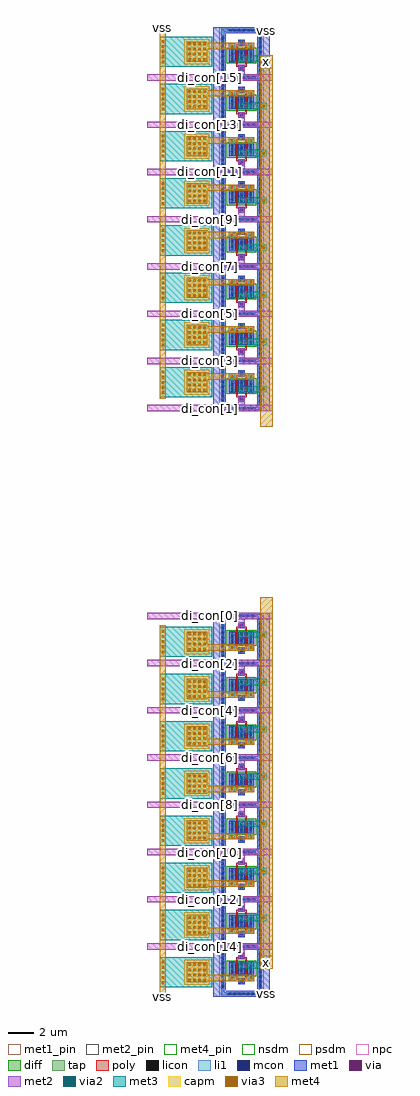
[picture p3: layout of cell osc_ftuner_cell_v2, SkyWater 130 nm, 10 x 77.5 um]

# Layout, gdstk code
from math import pi, radians
import gdstk
lib = gdstk.Library(unit=1e-6, precision=1e-09)
def R(c, l, rs):  # rectangles x0, y0, x1, y1
    for r in rs: c.add(gdstk.rectangle(r[:2], r[2:], *l))
def A(c, l, x, y, w, h, nx, ny, dx, dy):  # array of equal rectangles
    R(c, l, [(x+i*dx, y+j*dy, x+i*dx+w, y+j*dy+h) for i in range(nx) for j in range(ny)])
diff = (65, 20)
tap = (65, 44)
poly = (66, 20)
licon = (66, 44)
li1 = (67, 20)
mcon = (67, 44)
met1_pin = (68, 16)
met1 = (68, 20)
via = (68, 44)
met2_pin = (69, 16)
met2 = (69, 20)
via2 = (69, 44)
met3 = (70, 20)
via3 = (70, 44)
met4_pin = (71, 16)
met4 = (71, 20)
capm = (89, 44)
nsdm = (93, 44)
psdm = (94, 20)
npc = (95, 20)

sky130_fd_pr__nfet_01v8_ = lib.new_cell('sky130_fd_pr__nfet_01v8_osc_ftuner_cell_v2')
R(sky130_fd_pr__nfet_01v8_, diff, [(-1.085,-2.095,0.975,-1.095)])
R(sky130_fd_pr__nfet_01v8_, tap, [(-1.68,-3.72,1.57,-3.47), (-1.68,-3.47,-1.43,0.03), (1.32,-3.47,1.57,0.03), (-1.68,0.03,1.57,0.28)])
R(sky130_fd_pr__nfet_01v8_, poly, [(-0.19,-2.845,0.08,-2.495), (-0.485,-2.495,0.375,-2.345), (-0.485,-2.345,-0.335,-0.845), (0.225,-2.345,0.375,-0.845), (-0.485,-0.845,0.375,-0.695), (-0.19,-0.695,0.08,-0.345)])
A(sky130_fd_pr__nfet_01v8_, licon, -1.16, -3.68, 0.17, 0.17, 7, 2, 0.34, 3.75)
A(sky130_fd_pr__nfet_01v8_, licon, -1.64, -3.165, 0.17, 0.17, 1, 9, 0, 0.34)
A(sky130_fd_pr__nfet_01v8_, licon, 1.36, -3.165, 0.17, 0.17, 1, 9, 0, 0.34)
A(sky130_fd_pr__nfet_01v8_, licon, -0.87, -2.02, 0.17, 0.17, 3, 3, 0.73, 0.34)
R(sky130_fd_pr__nfet_01v8_, licon, [(-0.14,-2.68,0.03,-2.51), (-0.14,-0.68,0.03,-0.51)])
R(sky130_fd_pr__nfet_01v8_, li1, [(-1.68,-3.72,1.57,-3.47), (-1.68,-3.47,-1.43,0.03), (1.32,-3.47,1.57,0.03), (-0.14,-2.845,0.03,-2.345), (-1.025,-2.115,-0.545,-1.075), (-0.275,-2.115,0.165,-1.075), (0.435,-2.115,0.915,-1.075), (-0.14,-0.845,0.03,-0.345), (-1.68,0.03,1.57,0.28)])
A(sky130_fd_pr__nfet_01v8_, mcon, -1.04, -3.68, 0.17, 0.17, 6, 2, 0.36, 3.75)
A(sky130_fd_pr__nfet_01v8_, mcon, -1.64, -3.065, 0.17, 0.17, 1, 8, 0, 0.36)
A(sky130_fd_pr__nfet_01v8_, mcon, 1.36, -3.065, 0.17, 0.17, 1, 8, 0, 0.36)
A(sky130_fd_pr__nfet_01v8_, mcon, -0.87, -1.86, 0.17, 0.17, 3, 2, 0.73, 0.36)
R(sky130_fd_pr__nfet_01v8_, mcon, [(-0.14,-2.68,0.03,-2.51), (-0.14,-0.68,0.03,-0.51)])
R(sky130_fd_pr__nfet_01v8_, met1, [(-1.805,-3.845,1.695,-3.345), (-1.805,-3.345,-1.305,-0.095), (1.195,-3.345,1.695,-0.095), (-0.305,-2.845,0.195,-2.345), (-1.055,-2.095,-0.515,-1.095), (-0.305,-2.095,0.195,-1.095), (0.405,-2.095,0.945,-1.095), (-0.305,-0.845,0.195,-0.345), (-1.805,-0.095,1.695,0.405)])
R(sky130_fd_pr__nfet_01v8_, nsdm, [(-1.21,-2.22,1.1,-0.97)])
R(sky130_fd_pr__nfet_01v8_, psdm, [(-1.805,-3.845,1.695,-3.345), (-1.805,-3.345,-1.305,-0.095), (1.195,-3.345,1.695,-0.095), (-1.805,-0.095,1.695,0.405)])
R(sky130_fd_pr__nfet_01v8_, npc, [(-0.24,-2.78,0.13,-2.41), (-0.24,-0.78,0.13,-0.41)])
sky130_fd_pr__nfet_01v8_.add(gdstk.Label('D0', (-0.055,-1.595), layer=67, texttype=5))
sky130_fd_pr__nfet_01v8_.add(gdstk.Label('S0', (-0.63,-1.595), layer=67, texttype=5))
sky130_fd_pr__nfet_01v8_.add(gdstk.Label('D1', (-0.055,-1.595), layer=67, texttype=5))
sky130_fd_pr__nfet_01v8_.add(gdstk.Label('S1', (0.52,-1.595), layer=67, texttype=5))

sky130_fd_pr__cap_mim_m3 = lib.new_cell('sky130_fd_pr__cap_mim_m3_1_osc_ftuner_cell_v2')
R(sky130_fd_pr__cap_mim_m3, met3, [(-2.08,-1.2,2.08,1.2)])
A(sky130_fd_pr__cap_mim_m3, via3, 1.72, -0.9, 0.2, 0.2, 1, 5, 0, 0.4)
A(sky130_fd_pr__cap_mim_m3, via3, -1.58, -0.7, 0.2, 0.2, 4, 4, 0.4, 0.4)
R(sky130_fd_pr__cap_mim_m3, met4, [(1.58,-1.14,2.06,1.14), (-1.685,-0.805,-0.075,0.805)])
R(sky130_fd_pr__cap_mim_m3, capm, [(-1.88,-1,0.12,1)])
sky130_fd_pr__cap_mim_m3.add(gdstk.Label('C2', (1.82,0), layer=71, texttype=5))
sky130_fd_pr__cap_mim_m3.add(gdstk.Label('C1', (-0.88,0), layer=71, texttype=5))

osc_ftuner_cell_v2 = lib.new_cell('osc_ftuner_cell_v2')
R(osc_ftuner_cell_v2, met1_pin, [(38.75,-3,39.25,-2.5), (38.75,73.5,39.25,74)])
A(osc_ftuner_cell_v2, met1, 36, -1.75, 0.5, 1.5, 1, 8, 0, 3.75)
A(osc_ftuner_cell_v2, met1, 37.5, -1.75, 0.5, 1.5, 1, 8, 0, 3.75)
A(osc_ftuner_cell_v2, met1, 36, 45, 0.5, 1.5, 1, 8, 0, 3.75)
A(osc_ftuner_cell_v2, met1, 37.5, 45, 0.5, 1.5, 1, 8, 0, 3.75)
R(osc_ftuner_cell_v2, met1, [(34.75,-3,35.75,27.5), (38.25,-3,39.25,27.5), (36.75,-0.75,37.25,-0.25), (36.75,0,37.25,0.5), (36.75,3,37.25,3.5), (36.75,3.75,37.25,4.25), (36.75,6.75,37.25,7.25), (36.75,7.5,37.25,8), (36.75,10.5,37.25,11), (36.75,11.25,37.25,11.75), (36.75,14.25,37.25,14.75), (36.75,15,37.25,15.5), (36.75,18,37.25,18.5), (36.75,18.75,37.25,19.25), (36.75,21.75,37.25,22.25), (36.75,22.5,37.25,23), (36.75,25.5,37.25,26), (36.75,26.25,37.25,26.75), (34.75,43.5,35.75,74), (38.25,43.5,39.25,74), (36.75,44.25,37.25,44.75), (36.75,45,37.25,45.5), (36.75,48,37.25,48.5), (36.75,48.75,37.25,49.25), (36.75,51.75,37.25,52.25), (36.75,52.5,37.25,53), (36.75,55.5,37.25,56), (36.75,56.25,37.25,56.75), (36.75,59.25,37.25,59.75), (36.75,60,37.25,60.5), (36.75,63,37.25,63.5), (36.75,63.75,37.25,64.25), (36.75,66.75,37.25,67.25), (36.75,67.5,37.25,68), (36.75,70.5,37.25,71), (36.75,71.25,37.25,71.75)])
A(osc_ftuner_cell_v2, via, 36.175, -1.575, 0.15, 0.15, 1, 8, 0, 3.75)
A(osc_ftuner_cell_v2, via, 37.675, -1.575, 0.15, 0.15, 1, 8, 0, 3.75)
A(osc_ftuner_cell_v2, via, 36.175, 46.175, 0.15, 0.15, 1, 8, 0, 3.75)
A(osc_ftuner_cell_v2, via, 37.675, 46.175, 0.15, 0.15, 1, 8, 0, 3.75)
R(osc_ftuner_cell_v2, via, [(36.925,-0.575,37.075,-0.425), (36.925,0.175,37.075,0.325), (36.925,3.175,37.075,3.325), (36.925,3.925,37.075,4.075), (36.925,6.925,37.075,7.075), (36.925,7.675,37.075,7.825), (36.925,10.675,37.075,10.825), (36.925,11.425,37.075,11.575), (36.925,14.425,37.075,14.575), (36.925,15.175,37.075,15.325), (36.925,18.175,37.075,18.325), (36.925,18.925,37.075,19.075), (36.925,21.925,37.075,22.075), (36.925,22.675,37.075,22.825), (36.925,25.675,37.075,25.825), (36.925,26.425,37.075,26.575), (36.925,44.425,37.075,44.575), (36.925,45.175,37.075,45.325), (36.925,48.175,37.075,48.325), (36.925,48.925,37.075,49.075), (36.925,51.925,37.075,52.075), (36.925,52.675,37.075,52.825), (36.925,55.675,37.075,55.825), (36.925,56.425,37.075,56.575), (36.925,59.425,37.075,59.575), (36.925,60.175,37.075,60.325), (36.925,63.175,37.075,63.325), (36.925,63.925,37.075,64.075), (36.925,66.925,37.075,67.075), (36.925,67.675,37.075,67.825), (36.925,70.675,37.075,70.825), (36.925,71.425,37.075,71.575)])
A(osc_ftuner_cell_v2, met2_pin, 34.25, 0.75, 0.5, 0.5, 1, 8, 0, 3.75)
A(osc_ftuner_cell_v2, met2_pin, 34.25, 43.5, 0.5, 0.5, 1, 8, 0, 3.75)
A(osc_ftuner_cell_v2, met2, 36, -1.75, 0.5, 0.5, 1, 8, 0, 3.75)
A(osc_ftuner_cell_v2, met2, 37.5, -1.75, 0.5, 0.5, 1, 8, 0, 3.75)
A(osc_ftuner_cell_v2, met2, 36.75, -0.75, 0.5, 0.5, 1, 8, 0, 3.75)
A(osc_ftuner_cell_v2, met2, 36.75, 0, 0.5, 0.75, 1, 8, 0, 3.75)
A(osc_ftuner_cell_v2, met2, 29.5, 0.75, 10, 0.5, 1, 8, 0, 3.75)
A(osc_ftuner_cell_v2, met2, 29.5, 43.5, 10, 0.5, 1, 8, 0, 3.75)
A(osc_ftuner_cell_v2, met2, 36.75, 44, 0.5, 0.75, 1, 8, 0, 3.75)
A(osc_ftuner_cell_v2, met2, 36.75, 45, 0.5, 0.5, 1, 8, 0, 3.75)
A(osc_ftuner_cell_v2, met2, 36, 46, 0.5, 0.5, 1, 8, 0, 3.75)
A(osc_ftuner_cell_v2, met2, 37.5, 46, 0.5, 0.5, 1, 8, 0, 3.75)
A(osc_ftuner_cell_v2, via2, 36.15, -1.6, 0.2, 0.2, 1, 8, 0, 3.75)
A(osc_ftuner_cell_v2, via2, 37.65, -1.6, 0.2, 0.2, 1, 8, 0, 3.75)
A(osc_ftuner_cell_v2, via2, 36.9, -0.6, 0.2, 0.2, 1, 8, 0, 3.75)
A(osc_ftuner_cell_v2, via2, 36.9, 45.15, 0.2, 0.2, 1, 8, 0, 3.75)
A(osc_ftuner_cell_v2, via2, 36.15, 46.15, 0.2, 0.2, 1, 8, 0, 3.75)
A(osc_ftuner_cell_v2, via2, 37.65, 46.15, 0.2, 0.2, 1, 8, 0, 3.75)
A(osc_ftuner_cell_v2, met3, 36, -1.75, 0.5, 0.5, 1, 8, 0, 3.75)
A(osc_ftuner_cell_v2, met3, 37.5, -1.75, 0.5, 0.5, 1, 8, 0, 3.75)
A(osc_ftuner_cell_v2, met3, 36.75, -0.75, 2.25, 0.5, 1, 8, 0, 3.75)
A(osc_ftuner_cell_v2, met3, 36.75, 45, 2.25, 0.5, 1, 8, 0, 3.75)
A(osc_ftuner_cell_v2, met3, 36, 46, 0.5, 0.5, 1, 8, 0, 3.75)
A(osc_ftuner_cell_v2, met3, 37.5, 46, 0.5, 0.5, 1, 8, 0, 3.75)
A(osc_ftuner_cell_v2, via3, 36.15, -1.6, 0.2, 0.2, 1, 8, 0, 3.75)
A(osc_ftuner_cell_v2, via3, 37.65, -1.6, 0.2, 0.2, 1, 8, 0, 3.75)
A(osc_ftuner_cell_v2, via3, 38.65, -0.6, 0.2, 0.2, 1, 8, 0, 3.75)
A(osc_ftuner_cell_v2, via3, 38.65, 45.15, 0.2, 0.2, 1, 8, 0, 3.75)
A(osc_ftuner_cell_v2, via3, 36.15, 46.15, 0.2, 0.2, 1, 8, 0, 3.75)
A(osc_ftuner_cell_v2, via3, 37.65, 46.15, 0.2, 0.2, 1, 8, 0, 3.75)
R(osc_ftuner_cell_v2, met4_pin, [(30.5,-3.25,31,-2.75), (38.5,-0.75,39.5,0.25), (38.5,70.75,39.5,71.75), (30.5,73.75,31,74.25)])
A(osc_ftuner_cell_v2, met4, 34.25, -1.75, 3.75, 0.5, 1, 8, 0, 3.75)
A(osc_ftuner_cell_v2, met4, 34.25, 46, 3.75, 0.5, 1, 8, 0, 3.75)
R(osc_ftuner_cell_v2, met4, [(30.5,-3.25,31,26.5), (38.5,-0.75,39.5,28.75), (38.5,42.25,39.5,71.75), (30.5,44.5,31,74.25)])
osc_ftuner_cell_v2.add(gdstk.Reference(sky130_fd_pr__nfet_01v8_, (36.945,70.155), rotation=pi))
osc_ftuner_cell_v2.add(gdstk.Reference(sky130_fd_pr__nfet_01v8_, (37.055,0.845)))
osc_ftuner_cell_v2.add(gdstk.Reference(sky130_fd_pr__nfet_01v8_, (36.945,66.405), rotation=pi))
osc_ftuner_cell_v2.add(gdstk.Reference(sky130_fd_pr__nfet_01v8_, (37.055,4.595)))
osc_ftuner_cell_v2.add(gdstk.Reference(sky130_fd_pr__nfet_01v8_, (36.945,62.655), rotation=pi))
osc_ftuner_cell_v2.add(gdstk.Reference(sky130_fd_pr__nfet_01v8_, (37.055,8.345)))
osc_ftuner_cell_v2.add(gdstk.Reference(sky130_fd_pr__nfet_01v8_, (36.945,58.905), rotation=pi))
osc_ftuner_cell_v2.add(gdstk.Reference(sky130_fd_pr__nfet_01v8_, (37.055,12.095)))
osc_ftuner_cell_v2.add(gdstk.Reference(sky130_fd_pr__nfet_01v8_, (36.945,55.155), rotation=pi))
osc_ftuner_cell_v2.add(gdstk.Reference(sky130_fd_pr__nfet_01v8_, (37.055,15.845)))
osc_ftuner_cell_v2.add(gdstk.Reference(sky130_fd_pr__nfet_01v8_, (36.945,51.405), rotation=pi))
osc_ftuner_cell_v2.add(gdstk.Reference(sky130_fd_pr__nfet_01v8_, (37.055,19.595)))
osc_ftuner_cell_v2.add(gdstk.Reference(sky130_fd_pr__nfet_01v8_, (36.945,47.655), rotation=pi))
osc_ftuner_cell_v2.add(gdstk.Reference(sky130_fd_pr__nfet_01v8_, (37.055,23.345)))
osc_ftuner_cell_v2.add(gdstk.Reference(sky130_fd_pr__nfet_01v8_, (36.945,43.905), rotation=pi))
osc_ftuner_cell_v2.add(gdstk.Reference(sky130_fd_pr__nfet_01v8_, (37.055,27.095)))
osc_ftuner_cell_v2.add(gdstk.Reference(sky130_fd_pr__cap_mim_m3, (32.58,72.05), rotation=pi))
osc_ftuner_cell_v2.add(gdstk.Reference(sky130_fd_pr__cap_mim_m3, (32.58,-1.05), rotation=pi))
osc_ftuner_cell_v2.add(gdstk.Reference(sky130_fd_pr__cap_mim_m3, (32.58,68.3), rotation=pi))
osc_ftuner_cell_v2.add(gdstk.Reference(sky130_fd_pr__cap_mim_m3, (32.58,2.7), rotation=pi))
osc_ftuner_cell_v2.add(gdstk.Reference(sky130_fd_pr__cap_mim_m3, (32.58,64.55), rotation=pi))
osc_ftuner_cell_v2.add(gdstk.Reference(sky130_fd_pr__cap_mim_m3, (32.58,6.45), rotation=pi))
osc_ftuner_cell_v2.add(gdstk.Reference(sky130_fd_pr__cap_mim_m3, (32.58,60.8), rotation=pi))
osc_ftuner_cell_v2.add(gdstk.Reference(sky130_fd_pr__cap_mim_m3, (32.58,10.2), rotation=pi))
osc_ftuner_cell_v2.add(gdstk.Reference(sky130_fd_pr__cap_mim_m3, (32.58,57.05), rotation=pi))
osc_ftuner_cell_v2.add(gdstk.Reference(sky130_fd_pr__cap_mim_m3, (32.58,13.95), rotation=pi))
osc_ftuner_cell_v2.add(gdstk.Reference(sky130_fd_pr__cap_mim_m3, (32.58,53.3), rotation=pi))
osc_ftuner_cell_v2.add(gdstk.Reference(sky130_fd_pr__cap_mim_m3, (32.58,17.7), rotation=pi))
osc_ftuner_cell_v2.add(gdstk.Reference(sky130_fd_pr__cap_mim_m3, (32.58,49.55), rotation=pi))
osc_ftuner_cell_v2.add(gdstk.Reference(sky130_fd_pr__cap_mim_m3, (32.58,21.45), rotation=pi))
osc_ftuner_cell_v2.add(gdstk.Reference(sky130_fd_pr__cap_mim_m3, (32.58,45.8), rotation=pi))
osc_ftuner_cell_v2.add(gdstk.Reference(sky130_fd_pr__cap_mim_m3, (32.58,25.2), rotation=pi))
osc_ftuner_cell_v2.add(gdstk.Label('di_con[15]', (34.5,70), layer=69, texttype=5))
osc_ftuner_cell_v2.add(gdstk.Label('di_con[14]', (34.5,1), layer=69, texttype=5))
osc_ftuner_cell_v2.add(gdstk.Label('di_con[13]', (34.5,66.25), layer=69, texttype=5))
osc_ftuner_cell_v2.add(gdstk.Label('di_con[12]', (34.5,4.75), layer=69, texttype=5))
osc_ftuner_cell_v2.add(gdstk.Label('di_con[11]', (34.5,62.5), layer=69, texttype=5))
osc_ftuner_cell_v2.add(gdstk.Label('di_con[10]', (34.5,8.5), layer=69, texttype=5))
osc_ftuner_cell_v2.add(gdstk.Label('di_con[9]', (34.5,58.75), layer=69, texttype=5))
osc_ftuner_cell_v2.add(gdstk.Label('di_con[8]', (34.5,12.25), layer=69, texttype=5))
osc_ftuner_cell_v2.add(gdstk.Label('di_con[7]', (34.5,55), layer=69, texttype=5))
osc_ftuner_cell_v2.add(gdstk.Label('di_con[6]', (34.5,16), layer=69, texttype=5))
osc_ftuner_cell_v2.add(gdstk.Label('di_con[5]', (34.5,51.25), layer=69, texttype=5))
osc_ftuner_cell_v2.add(gdstk.Label('di_con[4]', (34.5,19.75), layer=69, texttype=5))
osc_ftuner_cell_v2.add(gdstk.Label('di_con[3]', (34.5,47.5), layer=69, texttype=5))
osc_ftuner_cell_v2.add(gdstk.Label('di_con[2]', (34.5,23.5), layer=69, texttype=5))
osc_ftuner_cell_v2.add(gdstk.Label('di_con[1]', (34.5,43.75), layer=69, texttype=5))
osc_ftuner_cell_v2.add(gdstk.Label('di_con[0]', (34.5,27.25), layer=69, texttype=5))
osc_ftuner_cell_v2.add(gdstk.Label('vss', (39,-2.75), layer=68, texttype=5))
osc_ftuner_cell_v2.add(gdstk.Label('vss', (39,73.75), layer=68, texttype=5))
osc_ftuner_cell_v2.add(gdstk.Label('vss', (30.75,74), layer=71, texttype=5))
osc_ftuner_cell_v2.add(gdstk.Label('vss', (30.75,-3), layer=71, texttype=5))
osc_ftuner_cell_v2.add(gdstk.Label('x', (39,71.25), layer=71, texttype=5))
osc_ftuner_cell_v2.add(gdstk.Label('x', (39,-0.25), layer=71, texttype=5))

lib.write_gds('osc_ftuner_cell_v2.gds')
